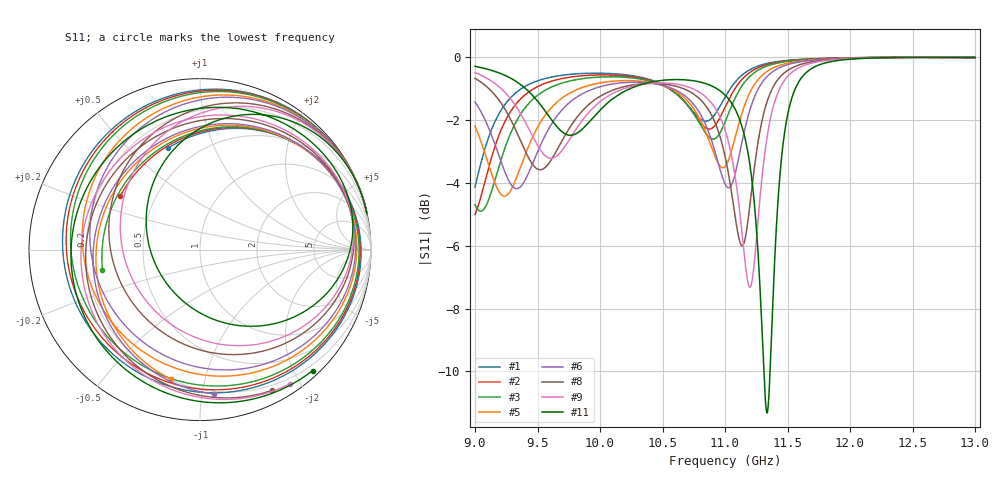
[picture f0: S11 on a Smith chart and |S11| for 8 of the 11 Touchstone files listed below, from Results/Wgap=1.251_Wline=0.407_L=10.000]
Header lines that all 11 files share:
! TOUCHSTONE file generated by CST DESIGN STUDIO
! Project name: C:\Work\MatlabApps\UnitCellOptimizationMatlab\CST\unitcell.cst
! Tree item: Tasks\Sweep1\SPara1\S-Parameters
! Header version: 2024
! Port assignment regex: !\s*Touchstone port\s*([0-9]+)\s*=\s*(CST MWS port|CST DES external port|CST DES block port)\s*(.+)\s* \(\"(.*)\"\)(\s*mode\s*([0-9]+))?.*
! Touchstone port assignment:
! Touchstone port 1 = CST DES external port 1 ("")
# GHz S MA R 50
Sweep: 9 GHz to 13 GHz
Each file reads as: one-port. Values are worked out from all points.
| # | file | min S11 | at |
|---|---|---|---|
| 1 | DS_for_MWS-run-0001.s1p | -4.1 dB | 9 GHz |
| 2 | DS_for_MWS-run-0002.s1p | -5.0 dB | 9 GHz |
| 3 | DS_for_MWS-run-0003.s1p | -4.9 dB | 9.046 GHz |
| 4 | DS_for_MWS-run-0004.s1p | -4.7 dB | 9.139 GHz |
| 5 | DS_for_MWS-run-0005.s1p | -4.4 dB | 9.236 GHz |
| 6 | DS_for_MWS-run-0006.s1p | -4.2 dB | 9.333 GHz |
| 7 | DS_for_MWS-run-0007.s1p | -5.0 dB | 11.08 GHz |
| 8 | DS_for_MWS-run-0008.s1p | -6.0 dB | 11.14 GHz |
| 9 | DS_for_MWS-run-0009.s1p | -7.3 dB | 11.2 GHz |
| 10 | DS_for_MWS-run-0010.s1p | -9.0 dB | 11.27 GHz |
| 11 | DS_for_MWS-run-0011.s1p | -11.3 dB | 11.34 GHz |
